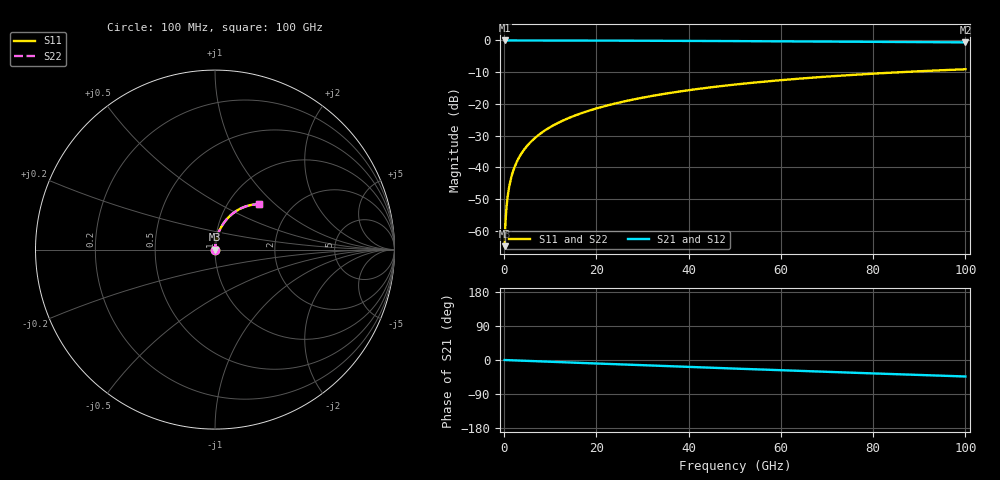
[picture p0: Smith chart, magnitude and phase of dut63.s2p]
! Touchstone file exported from HFSS 2026.1.0
!  File:  C:/ffzhzh/LocalFiles/Ansys_Project_Files/temp_train_TSV_63_1783505137_9504.aedt
!  Generated:  06:06:55 PM Jul  8, 2026
!  Design:  TSV
!  Project:  temp_train_TSV_63_1783505137_9504
! Variables:
!  h_bsmrdl = 2um
!  h_ox = 20um
!  h_rdl = 5um
!  h_sub = 73.33um
!  h_tmrdl = 5um
!  h_tsv = 73.33um
!  h_via = 3um
!  l_bsmrdl = 300um
!  l_sub = 410.58um
!  l_tmrdl = 200um
!  m_sub = 200um
!  pitch = 51.32um
!  r_tsv = 5.29um
!  s_tmrdl = 10um
!  w_bsmrdl = 18um
!  w_sub = 500um
!  w_tmrdl = 12um
!  x_tsv_center1 = 206um
!  x_tsv_center2 = 524um
!  x_tsv_center3 = 736um
!  x_tsv_center4 = 1054um
!  x_tsv_center5 = 1266um
!  x_tsv_center6 = 1584um
# GHz S MA R 50.000000
! Terminal data exported
! Port[1] = TSV1_1_T1
! Port[2] = TSV1_1_T2
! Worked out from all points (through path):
!   1000 points, 100 MHz to 100 GHz, reference 50 ohm
!   highest |S21| = 0.00 dB at 100 MHz (marker M1); lowest = -0.6 dB at 100 GHz (marker M2)
!   group delay of S21, straight-line fit = 1.21 ps
!   lowest |S11| = -64.9 dB at 100 MHz (marker M3), VSWR 1.00, Z = 50 + j0.0465 ohm
!   |S11| at or under -10 dB: start of sweep to 85.99 GHz
!   |S22| runs from -64.9 to -9.1 dB; largest |S21 - S12| = 3.5e-15
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0.1  0.0005713 54.5  0.9997 -0.0  0.9997 -0.0  0.0005713 54.5
! Gamma 0 0 0 0
! Port Impedance 50 0 50 0
0.4  0.001852 78.5  0.9996 -0.2  0.9996 -0.2  0.001852 78.5
0.7  0.003183 82.7  0.9996 -0.3  0.9996 -0.3  0.003183 82.7
0.8  0.003629 83.4  0.9996 -0.4  0.9996 -0.4  0.003629 83.4
1  0.00452 84.3  0.9996 -0.5  0.9996 -0.5  0.00452 84.3
1.3  0.005854 85.0  0.9995 -0.6  0.9995 -0.6  0.005854 85.0
1.7  0.007623 85.4  0.9995 -0.8  0.9995 -0.8  0.007623 85.4
2.3  0.01026 85.6  0.9994 -1.1  0.9994 -1.1  0.01026 85.6
3  0.0133 85.6  0.9992 -1.4  0.9992 -1.4  0.0133 85.6
3.8  0.01674 85.5  0.9991 -1.8  0.9991 -1.8  0.01674 85.5
4.8  0.02101 85.3  0.9989 -2.2  0.9989 -2.2  0.02101 85.3
6  0.02612 84.9  0.9986 -2.8  0.9986 -2.8  0.02612 84.9
8.8  0.03798 84.0  0.998 -4.1  0.998 -4.1  0.03798 84.0
12.4  0.05313 82.6  0.9971 -5.7  0.9971 -5.7  0.05313 82.6
16.8  0.07149 80.8  0.9957 -7.8  0.9957 -7.8  0.07149 80.8
24.2  0.1019 77.7  0.9927 -11.1  0.9927 -11.1  0.1019 77.7
33.4  0.1387 73.7  0.9879 -15.3  0.9879 -15.3  0.1387 73.7
41.2  0.1689 70.4  0.983 -18.8  0.983 -18.8  0.1689 70.3
50.1  0.2019 66.5  0.9765 -22.7  0.9765 -22.7  0.2019 66.5
66.7  0.2588 59.5  0.9627 -29.8  0.9627 -29.8  0.2588 59.5
83.4  0.3091 52.6  0.9476 -36.8  0.9476 -36.8  0.3091 52.6
100  0.3516 46.0  0.9324 -43.5  0.9324 -43.5  0.3516 45.9
